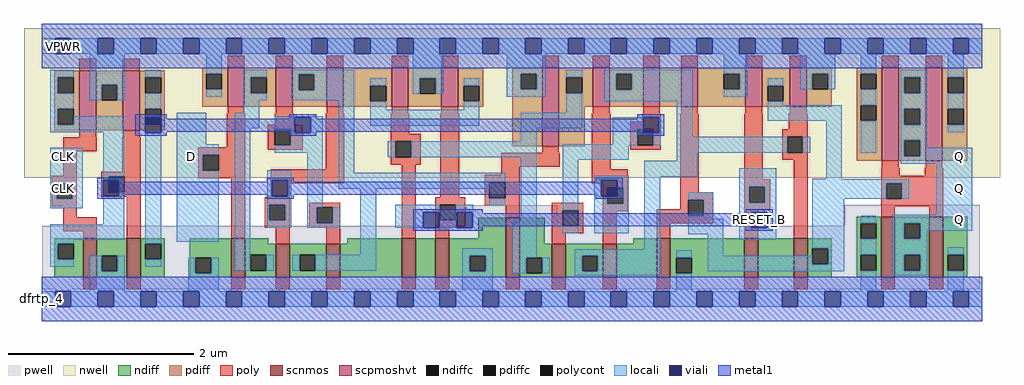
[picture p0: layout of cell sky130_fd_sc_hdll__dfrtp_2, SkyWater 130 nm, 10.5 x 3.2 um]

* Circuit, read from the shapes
.subckt sky130_fd_sc_hdll__dfrtp_2 CLK D RESET_B VGND VNB VPB VPWR Q
XM1 VGND CLK n1 VNB sky130_fd_pr__nfet_01v8 w=0.42 l=0.15
XM2 n2 n1 VGND VNB sky130_fd_pr__nfet_01v8 w=0.42 l=0.15
XM3 n3 D VGND VNB sky130_fd_pr__nfet_01v8 w=0.42 l=0.15
XM4 n4 n1 n3 VNB sky130_fd_pr__nfet_01v8 w=0.36 l=0.15
XM5 n5 n2 n4 VNB sky130_fd_pr__nfet_01v8 w=0.36 l=0.15
XM6 n6 n7 n5 VNB sky130_fd_pr__nfet_01v8 w=0.42 l=0.15
XM7 VGND RESET_B n6 VNB sky130_fd_pr__nfet_01v8 w=0.42 l=0.15
XM8 n7 n4 VGND VNB sky130_fd_pr__nfet_01v8 w=0.64 l=0.15
XM9 n8 n2 n7 VNB sky130_fd_pr__nfet_01v8 w=0.36 l=0.15
XM10 n9 n1 n8 VNB sky130_fd_pr__nfet_01v8 w=0.36 l=0.15
XM11 VGND n10 n9 VNB sky130_fd_pr__nfet_01v8 w=0.42 l=0.15
XM12 n11 RESET_B VGND VNB sky130_fd_pr__nfet_01v8 w=0.42 l=0.15
XM13 n10 n8 n11 VNB sky130_fd_pr__nfet_01v8 w=0.42 l=0.15
XM14 Q n10 VGND VNB sky130_fd_pr__nfet_01v8 w=0.65 l=0.15 m=2
XM15 VPWR CLK n1 VPB sky130_fd_pr__pfet_01v8_hvt w=0.64 l=0.18
XM16 n2 n1 VPWR VPB sky130_fd_pr__pfet_01v8_hvt w=0.64 l=0.18
XM17 n3 D VPWR VPB sky130_fd_pr__pfet_01v8_hvt w=0.42 l=0.18
XM18 n4 n2 n3 VPB sky130_fd_pr__pfet_01v8_hvt w=0.42 l=0.18
XM19 n12 n1 n4 VPB sky130_fd_pr__pfet_01v8_hvt w=0.42 l=0.18
XM20 VPWR n7 n12 VPB sky130_fd_pr__pfet_01v8_hvt w=0.42 l=0.18
XM21 n12 RESET_B VPWR VPB sky130_fd_pr__pfet_01v8_hvt w=0.42 l=0.18
XM22 n7 n4 VPWR VPB sky130_fd_pr__pfet_01v8_hvt w=0.84 l=0.18
XM23 n8 n1 n7 VPB sky130_fd_pr__pfet_01v8_hvt w=0.42 l=0.18
XM24 n13 n2 n8 VPB sky130_fd_pr__pfet_01v8_hvt w=0.42 l=0.18
XM25 VPWR n10 n13 VPB sky130_fd_pr__pfet_01v8_hvt w=0.42 l=0.18
XM26 n10 RESET_B VPWR VPB sky130_fd_pr__pfet_01v8_hvt w=0.42 l=0.18
XM27 VPWR n8 n10 VPB sky130_fd_pr__pfet_01v8_hvt w=0.42 l=0.18
XM28 Q n10 VPWR VPB sky130_fd_pr__pfet_01v8_hvt w=1 l=0.18 m=2
.ends

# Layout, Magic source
magic
tech sky130A
magscale 1 2
<< nwell >>
rect -38 261 2062 582
<< pwell >>
rect 913 157 1109 201
rect 1728 157 2018 203
rect 1 21 2018 157
rect 29 -17 63 21
<< scnmos >>
rect 89 47 119 131
rect 183 47 213 131
rect 408 47 438 131
rect 504 47 534 119
rect 612 47 642 119
rect 775 47 805 131
rect 847 47 877 131
rect 999 47 1029 175
rect 1098 47 1128 119
rect 1207 47 1237 119
rect 1323 47 1353 131
rect 1512 47 1542 131
rect 1618 47 1648 131
rect 1806 47 1836 177
rect 1910 47 1940 177
<< scpmoshvt >>
rect 81 363 117 491
rect 175 363 211 491
rect 400 413 436 497
rect 504 413 540 497
rect 613 413 649 497
rect 753 413 789 497
rect 860 413 896 497
rect 1077 329 1113 497
rect 1186 413 1222 497
rect 1294 413 1330 497
rect 1376 413 1412 497
rect 1514 413 1550 497
rect 1610 413 1646 497
rect 1808 297 1844 497
rect 1902 297 1938 497
<< ndiff >>
rect 27 119 89 131
rect 27 85 35 119
rect 69 85 89 119
rect 27 47 89 85
rect 119 93 183 131
rect 119 59 129 93
rect 163 59 183 93
rect 119 47 183 59
rect 213 119 265 131
rect 213 85 223 119
rect 257 85 265 119
rect 213 47 265 85
rect 319 89 408 131
rect 319 55 331 89
rect 365 55 408 89
rect 319 47 408 55
rect 438 119 488 131
rect 939 131 999 175
rect 657 119 775 131
rect 438 95 504 119
rect 438 61 449 95
rect 483 61 504 95
rect 438 47 504 61
rect 534 95 612 119
rect 534 61 555 95
rect 589 61 612 95
rect 534 47 612 61
rect 642 47 775 119
rect 805 47 847 131
rect 877 93 999 131
rect 877 59 921 93
rect 955 59 999 93
rect 877 47 999 59
rect 1029 119 1083 175
rect 1754 163 1806 177
rect 1273 119 1323 131
rect 1029 89 1098 119
rect 1029 55 1043 89
rect 1077 55 1098 89
rect 1029 47 1098 55
rect 1128 93 1207 119
rect 1128 59 1163 93
rect 1197 59 1207 93
rect 1128 47 1207 59
rect 1237 47 1323 119
rect 1353 89 1512 131
rect 1353 55 1365 89
rect 1399 55 1512 89
rect 1353 47 1512 55
rect 1542 47 1618 131
rect 1648 109 1700 131
rect 1648 75 1658 109
rect 1692 75 1700 109
rect 1648 47 1700 75
rect 1754 129 1762 163
rect 1796 129 1806 163
rect 1754 95 1806 129
rect 1754 61 1762 95
rect 1796 61 1806 95
rect 1754 47 1806 61
rect 1836 163 1910 177
rect 1836 129 1856 163
rect 1890 129 1910 163
rect 1836 95 1910 129
rect 1836 61 1856 95
rect 1890 61 1910 95
rect 1836 47 1910 61
rect 1940 95 1992 177
rect 1940 61 1950 95
rect 1984 61 1992 95
rect 1940 47 1992 61
<< pdiff >>
rect 27 477 81 491
rect 27 443 35 477
rect 69 443 81 477
rect 27 409 81 443
rect 27 375 35 409
rect 69 375 81 409
rect 27 363 81 375
rect 117 461 175 491
rect 117 427 129 461
rect 163 427 175 461
rect 117 363 175 427
rect 211 477 265 491
rect 211 443 223 477
rect 257 443 265 477
rect 211 409 265 443
rect 346 485 400 497
rect 346 451 354 485
rect 388 451 400 485
rect 346 413 400 451
rect 436 477 504 497
rect 436 443 450 477
rect 484 443 504 477
rect 436 413 504 443
rect 540 483 613 497
rect 540 449 553 483
rect 587 449 613 483
rect 540 413 613 449
rect 649 459 753 497
rect 649 425 707 459
rect 741 425 753 459
rect 649 413 753 425
rect 789 475 860 497
rect 789 441 814 475
rect 848 441 860 475
rect 789 413 860 441
rect 896 459 950 497
rect 896 425 908 459
rect 942 425 950 459
rect 896 413 950 425
rect 1013 485 1077 497
rect 1013 451 1031 485
rect 1065 451 1077 485
rect 211 375 223 409
rect 257 375 265 409
rect 211 363 265 375
rect 1013 329 1077 451
rect 1113 477 1186 497
rect 1113 443 1129 477
rect 1163 443 1186 477
rect 1113 413 1186 443
rect 1222 484 1294 497
rect 1222 450 1236 484
rect 1270 450 1294 484
rect 1222 413 1294 450
rect 1330 413 1376 497
rect 1412 485 1514 497
rect 1412 451 1468 485
rect 1502 451 1514 485
rect 1412 413 1514 451
rect 1550 459 1610 497
rect 1550 425 1562 459
rect 1596 425 1610 459
rect 1550 413 1610 425
rect 1646 485 1700 497
rect 1646 451 1658 485
rect 1692 451 1700 485
rect 1646 413 1700 451
rect 1754 485 1808 497
rect 1754 451 1762 485
rect 1796 451 1808 485
rect 1754 417 1808 451
rect 1113 329 1169 413
rect 1754 383 1762 417
rect 1796 383 1808 417
rect 1754 297 1808 383
rect 1844 477 1902 497
rect 1844 443 1856 477
rect 1890 443 1902 477
rect 1844 409 1902 443
rect 1844 375 1856 409
rect 1890 375 1902 409
rect 1844 341 1902 375
rect 1844 307 1856 341
rect 1890 307 1902 341
rect 1844 297 1902 307
rect 1938 477 1992 497
rect 1938 443 1950 477
rect 1984 443 1992 477
rect 1938 409 1992 443
rect 1938 375 1950 409
rect 1984 375 1992 409
rect 1938 297 1992 375
<< ndiffc >>
rect 35 85 69 119
rect 129 59 163 93
rect 223 85 257 119
rect 331 55 365 89
rect 449 61 483 95
rect 555 61 589 95
rect 921 59 955 93
rect 1043 55 1077 89
rect 1163 59 1197 93
rect 1365 55 1399 89
rect 1658 75 1692 109
rect 1762 129 1796 163
rect 1762 61 1796 95
rect 1856 129 1890 163
rect 1856 61 1890 95
rect 1950 61 1984 95
<< pdiffc >>
rect 35 443 69 477
rect 35 375 69 409
rect 129 427 163 461
rect 223 443 257 477
rect 354 451 388 485
rect 450 443 484 477
rect 553 449 587 483
rect 707 425 741 459
rect 814 441 848 475
rect 908 425 942 459
rect 1031 451 1065 485
rect 223 375 257 409
rect 1129 443 1163 477
rect 1236 450 1270 484
rect 1468 451 1502 485
rect 1562 425 1596 459
rect 1658 451 1692 485
rect 1762 451 1796 485
rect 1762 383 1796 417
rect 1856 443 1890 477
rect 1856 375 1890 409
rect 1856 307 1890 341
rect 1950 443 1984 477
rect 1950 375 1984 409
<< poly >>
rect 81 491 117 517
rect 175 491 211 517
rect 400 497 436 523
rect 504 497 540 523
rect 613 497 649 523
rect 753 497 789 523
rect 860 497 896 523
rect 1077 497 1113 523
rect 1186 497 1222 523
rect 1294 497 1330 523
rect 1376 497 1412 523
rect 1514 497 1550 523
rect 1610 497 1646 523
rect 1808 497 1844 523
rect 1902 497 1938 523
rect 400 398 436 413
rect 504 398 540 413
rect 613 398 649 413
rect 753 398 789 413
rect 860 398 896 413
rect 81 348 117 363
rect 175 348 211 363
rect 46 318 119 348
rect 46 265 76 318
rect 173 274 213 348
rect 398 326 438 398
rect 502 375 542 398
rect 22 249 76 265
rect 22 215 32 249
rect 66 215 76 249
rect 128 264 213 274
rect 128 230 144 264
rect 178 230 213 264
rect 337 310 438 326
rect 486 365 562 375
rect 486 331 502 365
rect 536 331 562 365
rect 486 321 562 331
rect 337 276 347 310
rect 381 276 438 310
rect 611 279 651 398
rect 751 355 791 398
rect 751 339 816 355
rect 751 305 761 339
rect 795 305 816 339
rect 751 289 816 305
rect 337 260 438 276
rect 128 220 213 230
rect 22 199 76 215
rect 46 176 76 199
rect 46 146 119 176
rect 89 131 119 146
rect 183 131 213 220
rect 408 131 438 260
rect 493 249 651 279
rect 493 219 534 249
rect 480 203 534 219
rect 480 169 490 203
rect 524 169 534 203
rect 480 153 534 169
rect 576 197 642 207
rect 576 163 592 197
rect 626 163 642 197
rect 576 153 642 163
rect 504 119 534 153
rect 612 119 642 153
rect 775 131 805 289
rect 858 219 898 398
rect 1186 398 1222 413
rect 1294 398 1330 413
rect 1376 398 1412 413
rect 1514 398 1550 413
rect 1610 398 1646 413
rect 1077 314 1113 329
rect 989 284 1115 314
rect 989 267 1029 284
rect 953 251 1029 267
rect 847 203 911 219
rect 847 169 857 203
rect 891 169 911 203
rect 953 217 963 251
rect 997 217 1029 251
rect 1184 279 1224 398
rect 1292 381 1332 398
rect 1266 365 1332 381
rect 1266 331 1282 365
rect 1316 331 1332 365
rect 1266 321 1332 331
rect 1184 249 1261 279
rect 953 201 1029 217
rect 1207 239 1261 249
rect 999 175 1029 201
rect 1098 191 1165 207
rect 847 153 911 169
rect 847 131 877 153
rect 1098 157 1121 191
rect 1155 157 1165 191
rect 1098 141 1165 157
rect 1207 205 1217 239
rect 1251 205 1261 239
rect 1207 189 1261 205
rect 1374 229 1414 398
rect 1512 257 1552 398
rect 1608 365 1648 398
rect 1594 349 1648 365
rect 1594 315 1604 349
rect 1638 315 1648 349
rect 1594 299 1648 315
rect 1512 241 1568 257
rect 1374 213 1445 229
rect 1374 193 1391 213
rect 1098 119 1128 141
rect 1207 119 1237 189
rect 1323 179 1391 193
rect 1425 179 1445 213
rect 1323 163 1445 179
rect 1512 207 1522 241
rect 1556 207 1568 241
rect 1512 191 1568 207
rect 1323 131 1353 163
rect 1512 131 1542 191
rect 1618 131 1648 299
rect 1808 282 1844 297
rect 1902 282 1938 297
rect 1806 265 1846 282
rect 1900 265 1940 282
rect 1806 249 1940 265
rect 1806 215 1817 249
rect 1851 215 1940 249
rect 1806 199 1940 215
rect 1806 177 1836 199
rect 1910 177 1940 199
rect 89 21 119 47
rect 183 21 213 47
rect 408 21 438 47
rect 504 21 534 47
rect 612 21 642 47
rect 775 21 805 47
rect 847 21 877 47
rect 999 21 1029 47
rect 1098 21 1128 47
rect 1207 21 1237 47
rect 1323 21 1353 47
rect 1512 21 1542 47
rect 1618 21 1648 47
rect 1806 21 1836 47
rect 1910 21 1940 47
<< polycont >>
rect 32 215 66 249
rect 144 230 178 264
rect 502 331 536 365
rect 347 276 381 310
rect 761 305 795 339
rect 490 169 524 203
rect 592 163 626 197
rect 857 169 891 203
rect 963 217 997 251
rect 1282 331 1316 365
rect 1121 157 1155 191
rect 1217 205 1251 239
rect 1604 315 1638 349
rect 1391 179 1425 213
rect 1522 207 1556 241
rect 1817 215 1851 249
<< locali >>
rect 0 527 29 561
rect 63 527 121 561
rect 155 527 213 561
rect 247 527 305 561
rect 339 527 397 561
rect 431 527 489 561
rect 523 527 581 561
rect 615 527 673 561
rect 707 527 765 561
rect 799 527 857 561
rect 891 527 949 561
rect 983 527 1041 561
rect 1075 527 1133 561
rect 1167 527 1225 561
rect 1259 527 1317 561
rect 1351 527 1409 561
rect 1443 527 1501 561
rect 1535 527 1593 561
rect 1627 527 1685 561
rect 1719 527 1777 561
rect 1811 527 1869 561
rect 1903 527 1961 561
rect 1995 527 2024 561
rect 18 477 69 493
rect 18 443 35 477
rect 18 409 69 443
rect 103 461 179 527
rect 103 427 129 461
rect 163 427 179 461
rect 223 477 257 493
rect 18 375 35 409
rect 223 409 257 443
rect 354 485 388 527
rect 354 435 388 451
rect 434 477 484 493
rect 434 443 450 477
rect 69 375 178 393
rect 18 359 178 375
rect 18 249 88 325
rect 18 215 32 249
rect 66 215 88 249
rect 18 195 88 215
rect 132 264 178 359
rect 132 255 144 264
rect 166 221 178 230
rect 132 161 178 221
rect 18 127 178 161
rect 434 427 484 443
rect 537 483 673 493
rect 537 449 553 483
rect 587 449 673 483
rect 798 475 864 527
rect 1001 485 1085 527
rect 537 427 673 449
rect 434 401 468 427
rect 18 119 69 127
rect 18 85 35 119
rect 223 119 257 357
rect 291 333 354 401
rect 415 367 468 401
rect 502 391 605 393
rect 291 310 381 333
rect 291 276 347 310
rect 291 123 381 276
rect 18 69 69 85
rect 103 59 129 93
rect 163 59 179 93
rect 223 69 257 85
rect 103 17 179 59
rect 315 55 331 89
rect 365 55 381 89
rect 415 61 449 367
rect 502 365 545 391
rect 536 357 545 365
rect 579 357 605 391
rect 536 331 605 357
rect 502 315 605 331
rect 485 255 537 277
rect 485 221 496 255
rect 530 221 537 255
rect 485 203 537 221
rect 485 169 490 203
rect 524 169 537 203
rect 485 153 537 169
rect 571 197 605 315
rect 639 271 673 427
rect 707 459 741 475
rect 798 441 814 475
rect 848 441 864 475
rect 908 459 942 475
rect 707 407 741 425
rect 1001 451 1031 485
rect 1065 451 1085 485
rect 1001 435 1085 451
rect 1129 477 1163 493
rect 908 407 942 425
rect 707 373 942 407
rect 1129 401 1163 443
rect 1210 484 1401 493
rect 1210 450 1236 484
rect 1270 450 1401 484
rect 1210 425 1401 450
rect 1468 485 1518 527
rect 1502 451 1518 485
rect 1632 485 1708 527
rect 1468 435 1518 451
rect 1562 459 1596 475
rect 1031 367 1163 401
rect 1031 339 1065 367
rect 745 305 761 339
rect 795 305 1065 339
rect 1229 365 1294 391
rect 1229 333 1282 365
rect 1328 357 1332 391
rect 639 251 997 271
rect 639 237 963 251
rect 571 163 592 197
rect 626 163 642 197
rect 571 153 642 163
rect 686 95 720 237
rect 761 187 857 203
rect 761 153 821 187
rect 855 169 857 187
rect 891 187 929 203
rect 963 201 997 217
rect 891 169 893 187
rect 855 153 893 169
rect 927 153 929 187
rect 1031 167 1065 305
rect 483 61 499 95
rect 539 61 555 95
rect 589 61 720 95
rect 905 93 971 109
rect 315 17 381 55
rect 905 59 921 93
rect 955 59 971 93
rect 905 17 971 59
rect 1013 89 1065 167
rect 1121 331 1282 333
rect 1316 331 1332 357
rect 1367 349 1401 425
rect 1632 451 1658 485
rect 1692 451 1708 485
rect 1762 485 1796 527
rect 1562 417 1596 425
rect 1762 417 1796 451
rect 1562 383 1722 417
rect 1121 299 1263 331
rect 1367 315 1604 349
rect 1638 315 1654 349
rect 1121 191 1155 299
rect 1367 297 1411 315
rect 1121 141 1155 157
rect 1189 255 1263 265
rect 1189 221 1204 255
rect 1238 239 1263 255
rect 1189 205 1217 221
rect 1251 205 1263 239
rect 1189 141 1263 205
rect 1297 263 1411 297
rect 1297 107 1331 263
rect 1501 241 1581 281
rect 1688 259 1722 383
rect 1762 315 1796 383
rect 1848 477 1906 493
rect 1848 443 1856 477
rect 1890 443 1906 477
rect 1848 409 1906 443
rect 1848 375 1856 409
rect 1890 375 1906 409
rect 1848 341 1906 375
rect 1950 477 1984 527
rect 1950 409 1984 443
rect 1950 359 1984 375
rect 1848 307 1856 341
rect 1890 325 1906 341
rect 1890 307 2002 325
rect 1848 291 2002 307
rect 1391 213 1445 229
rect 1425 179 1445 213
rect 1391 173 1445 179
rect 1501 207 1522 241
rect 1556 207 1581 241
rect 1501 187 1581 207
rect 1391 139 1467 173
rect 1147 93 1331 107
rect 1013 55 1043 89
rect 1077 55 1093 89
rect 1147 59 1163 93
rect 1197 59 1331 93
rect 1147 51 1331 59
rect 1365 89 1399 105
rect 1433 93 1467 139
rect 1501 153 1527 187
rect 1561 153 1581 187
rect 1501 127 1581 153
rect 1658 257 1722 259
rect 1658 249 1867 257
rect 1658 215 1817 249
rect 1851 215 1867 249
rect 1658 109 1727 215
rect 1925 181 2002 291
rect 1433 75 1658 93
rect 1692 75 1727 109
rect 1433 59 1727 75
rect 1762 163 1796 179
rect 1762 95 1796 129
rect 1365 17 1399 55
rect 1762 17 1796 61
rect 1830 163 2002 181
rect 1830 129 1856 163
rect 1890 147 2002 163
rect 1890 129 1906 147
rect 1830 95 1906 129
rect 1830 61 1856 95
rect 1890 61 1906 95
rect 1830 51 1906 61
rect 1950 95 1984 111
rect 1950 17 1984 61
rect 0 -17 29 17
rect 63 -17 121 17
rect 155 -17 213 17
rect 247 -17 305 17
rect 339 -17 397 17
rect 431 -17 489 17
rect 523 -17 581 17
rect 615 -17 673 17
rect 707 -17 765 17
rect 799 -17 857 17
rect 891 -17 949 17
rect 983 -17 1041 17
rect 1075 -17 1133 17
rect 1167 -17 1225 17
rect 1259 -17 1317 17
rect 1351 -17 1409 17
rect 1443 -17 1501 17
rect 1535 -17 1593 17
rect 1627 -17 1685 17
rect 1719 -17 1777 17
rect 1811 -17 1869 17
rect 1903 -17 1961 17
rect 1995 -17 2024 17
<< viali >>
rect 29 527 63 561
rect 121 527 155 561
rect 213 527 247 561
rect 305 527 339 561
rect 397 527 431 561
rect 489 527 523 561
rect 581 527 615 561
rect 673 527 707 561
rect 765 527 799 561
rect 857 527 891 561
rect 949 527 983 561
rect 1041 527 1075 561
rect 1133 527 1167 561
rect 1225 527 1259 561
rect 1317 527 1351 561
rect 1409 527 1443 561
rect 1501 527 1535 561
rect 1593 527 1627 561
rect 1685 527 1719 561
rect 1777 527 1811 561
rect 1869 527 1903 561
rect 1961 527 1995 561
rect 132 230 144 255
rect 144 230 166 255
rect 132 221 166 230
rect 223 375 257 391
rect 223 357 257 375
rect 545 357 579 391
rect 496 221 530 255
rect 1294 365 1328 391
rect 1294 357 1316 365
rect 1316 357 1328 365
rect 821 153 855 187
rect 893 153 927 187
rect 1204 239 1238 255
rect 1204 221 1217 239
rect 1217 221 1238 239
rect 1527 153 1561 187
rect 29 -17 63 17
rect 121 -17 155 17
rect 213 -17 247 17
rect 305 -17 339 17
rect 397 -17 431 17
rect 489 -17 523 17
rect 581 -17 615 17
rect 673 -17 707 17
rect 765 -17 799 17
rect 857 -17 891 17
rect 949 -17 983 17
rect 1041 -17 1075 17
rect 1133 -17 1167 17
rect 1225 -17 1259 17
rect 1317 -17 1351 17
rect 1409 -17 1443 17
rect 1501 -17 1535 17
rect 1593 -17 1627 17
rect 1685 -17 1719 17
rect 1777 -17 1811 17
rect 1869 -17 1903 17
rect 1961 -17 1995 17
<< metal1 >>
rect 0 561 2024 592
rect 0 527 29 561
rect 63 527 121 561
rect 155 527 213 561
rect 247 527 305 561
rect 339 527 397 561
rect 431 527 489 561
rect 523 527 581 561
rect 615 527 673 561
rect 707 527 765 561
rect 799 527 857 561
rect 891 527 949 561
rect 983 527 1041 561
rect 1075 527 1133 561
rect 1167 527 1225 561
rect 1259 527 1317 561
rect 1351 527 1409 561
rect 1443 527 1501 561
rect 1535 527 1593 561
rect 1627 527 1685 561
rect 1719 527 1777 561
rect 1811 527 1869 561
rect 1903 527 1961 561
rect 1995 527 2024 561
rect 0 496 2024 527
rect 201 391 269 397
rect 201 357 223 391
rect 257 388 269 391
rect 533 391 591 397
rect 533 388 545 391
rect 257 360 545 388
rect 257 357 269 360
rect 201 351 269 357
rect 533 357 545 360
rect 579 388 591 391
rect 1282 391 1340 397
rect 1282 388 1294 391
rect 579 360 1294 388
rect 579 357 591 360
rect 533 351 591 357
rect 1282 357 1294 360
rect 1328 357 1340 391
rect 1282 351 1340 357
rect 120 255 178 261
rect 120 221 132 255
rect 166 252 178 255
rect 484 255 542 261
rect 484 252 496 255
rect 166 224 496 252
rect 166 221 178 224
rect 120 215 178 221
rect 484 221 496 224
rect 530 252 542 255
rect 1192 255 1250 261
rect 1192 252 1204 255
rect 530 224 1204 252
rect 530 221 542 224
rect 484 215 542 221
rect 1192 221 1204 224
rect 1238 221 1250 255
rect 1192 215 1250 221
rect 799 187 949 193
rect 799 153 821 187
rect 855 153 893 187
rect 927 184 949 187
rect 1515 187 1573 193
rect 1515 184 1527 187
rect 927 156 1527 184
rect 927 153 949 156
rect 799 147 949 153
rect 1515 153 1527 156
rect 1561 153 1573 187
rect 1515 147 1573 153
rect 0 17 2024 48
rect 0 -17 29 17
rect 63 -17 121 17
rect 155 -17 213 17
rect 247 -17 305 17
rect 339 -17 397 17
rect 431 -17 489 17
rect 523 -17 581 17
rect 615 -17 673 17
rect 707 -17 765 17
rect 799 -17 857 17
rect 891 -17 949 17
rect 983 -17 1041 17
rect 1075 -17 1133 17
rect 1167 -17 1225 17
rect 1259 -17 1317 17
rect 1351 -17 1409 17
rect 1443 -17 1501 17
rect 1535 -17 1593 17
rect 1627 -17 1685 17
rect 1719 -17 1777 17
rect 1811 -17 1869 17
rect 1903 -17 1961 17
rect 1995 -17 2024 17
rect 0 -48 2024 -17
<< labels >>
rlabel comment s 0 0 0 0 4 dfrtp_4
flabel metal1 s 1527 153 1561 187 0 FreeSans 400 0 0 0 RESET_B
port 3 nsew signal input
flabel metal1 s 29 527 63 561 0 FreeSans 200 0 0 0 VPWR
port 7 nsew power bidirectional
flabel metal1 s 29 -17 63 17 0 FreeSans 200 0 0 0 VGND
port 4 nsew ground bidirectional
flabel locali s 1958 221 1992 255 0 FreeSans 400 0 0 0 Q
port 8 nsew signal output
flabel locali s 1958 153 1992 187 0 FreeSans 400 0 0 0 Q
port 8 nsew signal output
flabel locali s 30 221 64 255 0 FreeSans 400 0 0 0 CLK
port 1 nsew signal input
flabel locali s 30 289 64 323 0 FreeSans 400 0 0 0 CLK
port 1 nsew signal input
flabel locali s 305 289 339 323 0 FreeSans 400 0 0 0 D
port 2 nsew signal input
flabel locali s 1958 289 1992 323 0 FreeSans 400 0 0 0 Q
port 8 nsew signal output
flabel nwell s 29 527 63 561 0 FreeSans 200 0 0 0 VPB
port 6 nsew power bidirectional
flabel pwell s 29 -17 63 17 0 FreeSans 200 0 0 0 VNB
port 5 nsew ground bidirectional
<< properties >>
string LEFsite unithd
string LEFclass CORE
string FIXED_BBOX 0 0 2024 544
string GDS_FILE $PDKPATH/libs.ref/sky130_fd_sc_hdll/gds/sky130_fd_sc_hdll.gds
string LEFsymmetry X Y R90
string GDS_END 691446
string GDS_START 676412
string LEFproperties maskLayoutSubType "abstract" prCellType "standard" originalViewName "layout"
<< end >>
